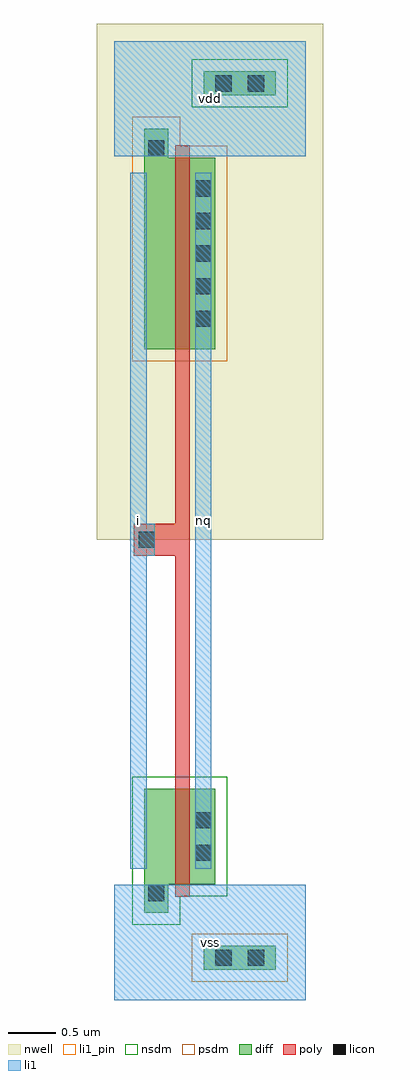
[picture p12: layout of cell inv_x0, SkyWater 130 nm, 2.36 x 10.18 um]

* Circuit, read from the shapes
.subckt inv_x0 i nq vdd vss
XM1 nq i vss VSUBS sky130_fd_pr__nfet_01v8 w=1 l=0.15
XM2 nq i vdd n1 sky130_fd_pr__pfet_01v8 w=2 l=0.15
.ends

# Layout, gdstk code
import gdstk
lib = gdstk.Library(unit=1e-6, precision=1e-09)
def R(c, l, rs):  # rectangles x0, y0, x1, y1
    for r in rs: c.add(gdstk.rectangle(r[:2], r[2:], *l))
def A(c, l, x, y, w, h, nx, ny, dx, dy):  # array of equal rectangles
    R(c, l, [(x+i*dx, y+j*dy, x+i*dx+w, y+j*dy+h) for i in range(nx) for j in range(ny)])
def P(c, l, *ps):  # polygons
    for p in ps: c.add(gdstk.Polygon(p, *l))
nwell = (64, 20)
diff = (65, 20)
poly = (66, 20)
licon = (66, 44)
li1_pin = (67, 16)
li1 = (67, 20)
nsdm = (93, 44)
psdm = (94, 20)

inv_x0 = lib.new_cell('inv_x0')
R(inv_x0, nwell, [(-0.18,4.8,2.18,10.18)])
R(inv_x0, diff, [(0.935,0.315,1.685,0.565), (0.935,9.435,1.685,9.685)])
P(inv_x0, diff, [(0.315,0.91),(0.315,2.205),(1.055,2.205),(1.055,1.205),(0.565,1.205),(0.565,0.91)],
  [(0.315,6.785),(0.315,9.09),(0.565,9.09),(0.565,8.785),(1.055,8.785),(1.055,6.785)])
P(inv_x0, poly, [(0.64,1.075),(0.64,4.635),(0.205,4.635),(0.205,4.965),(0.64,4.965),(0.64,8.915),(0.79,8.915),(0.79,1.075)])
A(inv_x0, licon, 0.845, 7.02, 0.17, 0.17, 1, 5, 0, 0.34)
R(inv_x0, licon, [(1.055,0.355,1.225,0.525), (1.395,0.355,1.565,0.525), (0.355,1.03,0.525,1.2), (0.845,1.45,1.015,1.62), (0.845,1.79,1.015,1.96), (0.255,4.715,0.425,4.885), (0.355,8.8,0.525,8.97), (1.055,9.475,1.225,9.645), (1.395,9.475,1.565,9.645)])
R(inv_x0, li1_pin, [(0,0,2,1.2), (0.17,1.37,0.34,8.63), (0.845,1.37,1.015,8.63), (0,8.8,2,10)])
R(inv_x0, li1, [(0,0,2,1.2), (0.845,1.37,1.015,8.63), (0,8.8,2,10)])
P(inv_x0, li1, [(0.17,1.37),(0.17,8.63),(0.34,8.63),(0.34,4.965),(0.425,4.965),(0.425,4.635),(0.34,4.635),(0.34,1.37)])
R(inv_x0, nsdm, [(0.81,9.31,1.81,9.81)])
P(inv_x0, nsdm, [(0.19,0.785),(0.19,2.33),(1.18,2.33),(1.18,1.08),(0.69,1.08),(0.69,0.785)])
R(inv_x0, psdm, [(0.81,0.19,1.81,0.69)])
P(inv_x0, psdm, [(0.19,6.66),(0.19,9.215),(0.69,9.215),(0.69,8.91),(1.18,8.91),(1.18,6.66)])
inv_x0.add(gdstk.Label('i', (0.255,5), layer=67, texttype=16))
inv_x0.add(gdstk.Label('vss', (1,0.6), layer=67, texttype=16))
inv_x0.add(gdstk.Label('vdd', (1,9.4), layer=67, texttype=16))
inv_x0.add(gdstk.Label('nq', (0.93,5), layer=67, texttype=16))
inv_x0.add(gdstk.Label('i', (0.255,5), layer=67, texttype=16))
inv_x0.add(gdstk.Label('vss', (1,0.6), layer=67, texttype=16))
inv_x0.add(gdstk.Label('vdd', (1,9.4), layer=67, texttype=16))
inv_x0.add(gdstk.Label('nq', (0.93,5), layer=67, texttype=16))

lib.write_gds('inv_x0.gds')
